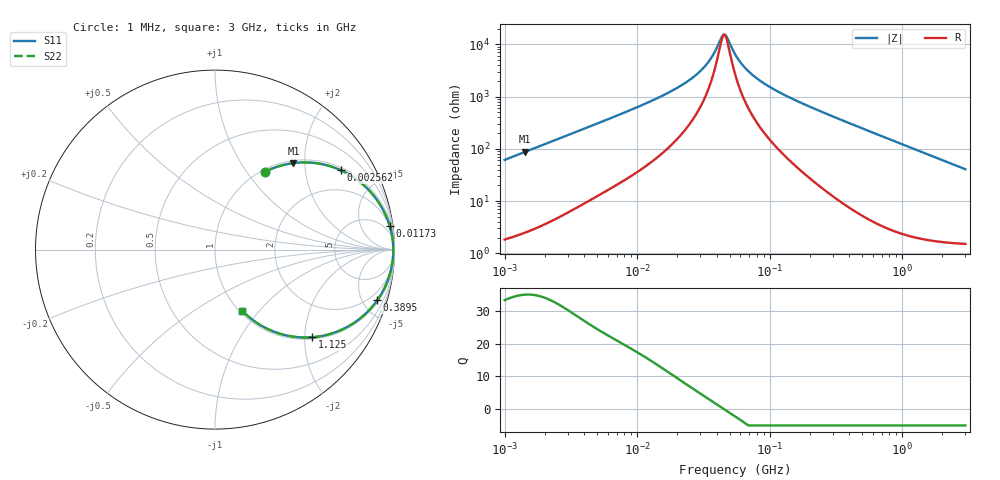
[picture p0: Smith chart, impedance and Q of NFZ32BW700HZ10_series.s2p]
! NFZ32BW700HZ10
# Hz S RI R 50
!Freq.(Hz) S11(Real) S11(Imag) S21(Real) S21(Imag) S12(Real) S12(Imag) S22(Real) S22(Imag)
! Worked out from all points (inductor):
!   401 points, 1 MHz to 3 GHz, reference 50 ohm
!   read as one part in series: L = 9.74 uH near 1.041 MHz
!   highest Q = 35.1 at 1.434 MHz (marker M1), where L = 9.74 uH
!   self-resonance near 44.84 MHz
!   S11 on the Smith chart (normalised r, x): 1 MHz: 1.04, +1.23; 2.562 MHz: 1.10, +3.12; 11.73 MHz: 2, +15; 389.5 MHz: 1.16, -6.35; 1.125 GHz: 1.04, -2.17; 3 GHz: 1.03, -0.81
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1000000  0.2797 0.4341  0.7203 -0.4341  0.7203 -0.4341  0.2797 0.4341
1433740  0.4368 0.4819  0.5632 -0.4819  0.5632 -0.4819  0.4368 0.4819
2561897  0.7036 0.4413  0.2964 -0.4413  0.2964 -0.4413  0.7036 0.4413
3823119  0.8354 0.3531  0.1646 -0.3531  0.1646 -0.3531  0.8354 0.3531
6305767  0.9275 0.2377  0.0725 -0.2377  0.0725 -0.2377  0.9275 0.2377
1.172775e7  0.9744 0.1293  0.0256 -0.1293  0.0256 -0.1293  0.9744 0.1293
1.461624e7  0.9819 0.1007  0.0181 -0.1007  0.0181 -0.1007  0.9819 0.1007
2.225279e7  0.9898 0.0567  0.0102 -0.0567  0.0102 -0.0567  0.9898 0.0567
3.00453e7  0.9924 0.0312  0.00763 -0.0312  0.00763 -0.0312  0.9924 0.0312
3.597591e7  0.9932 0.0173  0.00683 -0.0173  0.00683 -0.0173  0.9932 0.0173
4.483659e7  0.9936 0.001  0.00644 -0.001  0.00644 -0.001  0.9936 0.001
4.761141e7  0.9936 -0.00342  0.00643 0.00342  0.00643 0.00342  0.9936 -0.00342
5.477226e7  0.9934 -0.0138  0.00658 0.0138  0.00658 0.0138  0.9934 -0.0138
6.558369e7  0.9929 -0.0276  0.00713 0.0276  0.00713 0.0276  0.9929 -0.0276
8.507507e7  0.9912 -0.0491  0.00879 0.0491  0.00879 0.0491  0.9912 -0.0491
1.244416e8  0.986 -0.0866  0.014 0.0866  0.014 0.0866  0.986 -0.0866
2.094008e8  0.9678 -0.1573  0.0322 0.1573  0.0322 0.1573  0.9678 -0.1573
3.894533e8  0.9041 -0.2825  0.0959 0.2825  0.0959 0.2825  0.9041 -0.2825
8.005644e8  0.6968 -0.4503  0.3032 0.4503  0.3032 0.4503  0.6968 -0.4503
1.125055e9  0.5403 -0.4885  0.4597 0.4885  0.4597 0.4885  0.5403 -0.4885
1.931433e9  0.2904 -0.441  0.7096 0.441  0.7096 0.441  0.2904 -0.441
3e9  0.1511 -0.34  0.8489 0.34  0.8489 0.34  0.1511 -0.34
